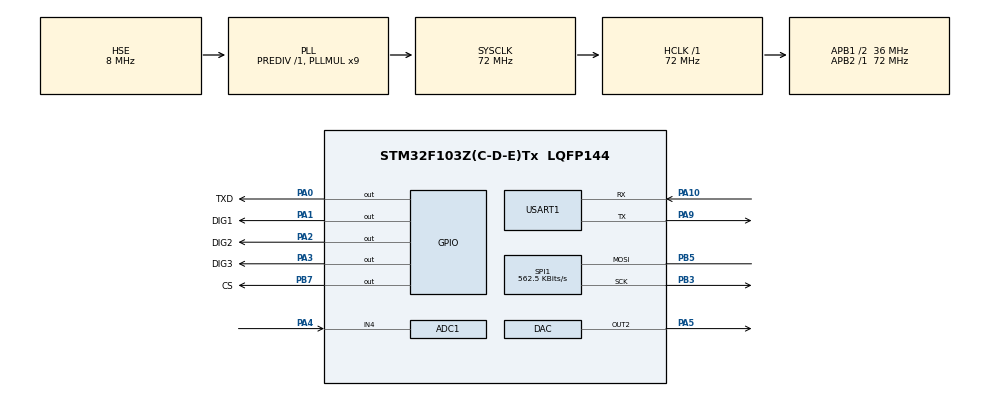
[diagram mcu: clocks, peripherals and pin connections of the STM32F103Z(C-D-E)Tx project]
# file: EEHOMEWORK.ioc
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ADC1.Channel-0\#ChannelRegularConversion=ADC_CHANNEL_4
ADC1.ContinuousConvMode=DISABLE
ADC1.NbrOfConversion=1
ADC1.NbrOfConversionFlag=1
ADC1.Rank-0\#ChannelRegularConversion=1
ADC1.SamplingTime-0\#ChannelRegularConversion=ADC_SAMPLETIME_239CYCLES_5
ADC1.master=1
Mcu.Family=STM32F1
Mcu.Name=STM32F103Z(C-D-E)Tx
Mcu.Package=LQFP144
NVIC.PriorityGroup=NVIC_PRIORITYGROUP_4
NVIC.TIM3_IRQn=true\:0\:0\:false\:false\:true\:true\:true
NVIC.USART1_IRQn=true\:0\:0\:false\:false\:true\:true\:true
OSC_IN.Mode=HSE-External-Oscillator
OSC_IN.Signal=RCC_OSC_IN
OSC_OUT.Mode=HSE-External-Oscillator
OSC_OUT.Signal=RCC_OSC_OUT
PA0-WKUP.GPIO_Label=TXD
PA0-WKUP.Signal=GPIO_Output
PA1.GPIO_Label=DIG1
PA1.PinState=GPIO_PIN_SET
PA1.Signal=GPIO_Output
PA10.Mode=Asynchronous
PA10.Signal=USART1_RX
PA13.Mode=Serial_Wire
PA13.Signal=SYS_JTMS-SWDIO
PA14.Mode=Serial_Wire
PA14.Signal=SYS_JTCK-SWCLK
PA2.GPIO_Label=DIG2
PA2.PinState=GPIO_PIN_SET
PA2.Signal=GPIO_Output
PA3.GPIO_Label=DIG3
PA3.PinState=GPIO_PIN_SET
PA3.Signal=GPIO_Output
PA4.Signal=ADCx_IN4
PA5.Signal=COMP_DAC2_group
PA9.Mode=Asynchronous
PA9.Signal=USART1_TX
PB3.Mode=Simplex_Bidirectional_Master
PB3.Signal=SPI1_SCK
PB5.Mode=Simplex_Bidirectional_Master
PB5.Signal=SPI1_MOSI
PB7.GPIO_Label=CS
PB7.PinState=GPIO_PIN_SET
PB7.Signal=GPIO_Output
ProjectManager.HeapSize=0x200
ProjectManager.StackSize=0x400
ProjectManager.TargetToolchain=SW4STM32
RCC.ADCPresc=RCC_ADCPCLK2_DIV6
RCC.AHBFreq_Value=72000000
RCC.APB1CLKDivider=RCC_HCLK_DIV2
RCC.APB1Freq_Value=36000000
RCC.APB1TimFreq_Value=72000000
RCC.APB2Freq_Value=72000000
RCC.APB2TimFreq_Value=72000000
RCC.HCLKFreq_Value=72000000
RCC.PLLMUL=RCC_PLL_MUL9
RCC.PLLSourceVirtual=RCC_PLLSOURCE_HSE
RCC.SYSCLKFreq_VALUE=72000000
RCC.SYSCLKSource=RCC_SYSCLKSOURCE_PLLCLK
RCC.USBFreq_Value=72000000
SH.ADCx_IN4.0=ADC1_IN4,IN4
SH.COMP_DAC2_group.0=DAC_OUT2,DAC_OUT2
SPI1.BaudRatePrescaler=SPI_BAUDRATEPRESCALER_128
SPI1.CalculateBaudRate=562.5 KBits/s
SPI1.Direction=SPI_DIRECTION_1LINE
SPI1.Mode=SPI_MODE_MASTER
SPI1.VirtualType=VM_MASTER
TIM3.Period=999
TIM3.Prescaler=71
USART1.VirtualMode=VM_ASYNC
VP_TIM3_VS_ClockSourceINT.Mode=Internal
board=custom

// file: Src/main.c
/* USER CODE BEGIN Header */
/**
  ******************************************************************************
  * @file           : main.c
  * @brief          : Main program body
  ******************************************************************************
  * @attention
  *
  * <h2><center>&copy; Copyright (c) 2020 STMicroelectronics.
  * All rights reserved.</center></h2>
  *
  * This software component is licensed by ST under BSD 3-Clause license,
  * the "License"; You may not use this file except in compliance with the
  * License. You may obtain a copy of the License at:
  *                        opensource.org/licenses/BSD-3-Clause
  *
  ******************************************************************************
  */
/* USER CODE END Header */

#include "main.h"
#include "adc.h"
#include "dac.h"
#include "spi.h"
#include "tim.h"
#include "usart.h"
#include "gpio.h"

/* USER CODE BEGIN Includes */
#include "smg.h"
#include "stdio.h"
#include "string.h"
#include "delay.h"
#include "infrared_emission.h"
/* USER CODE END Includes */

/* USER CODE BEGIN PV */
int adc_value;
double t;
uint8_t tx_flag=1;
uint8_t smg_data[] = {0x3f, 0x06, 0x5b, 0x4f, 0x66, 0x6d, 0x7d, 0x07, 0x7f, 0x6f, 0x77, 0x7c, 0x39, 0x5e, 0x79, 0x71};
/* USER CODE END PV */

void SystemClock_Config(void);

/* USER CODE BEGIN 0 */

#ifdef __GNUC__
/* With GCC, small printf (option LD Linker->Libraries->Small printf
   set to 'Yes') calls __io_putchar() */
#define PUTCHAR_PROTOTYPE int __io_putchar(int ch)
#else
#define PUTCHAR_PROTOTYPE int fputc(int ch, FILE *f)
#endif /* __GNUC__ */

PUTCHAR_PROTOTYPE {
    /* Place your implementation of fputc here */
    /* e.g. write a character to the USART1 and Loop until the end of transmission */
    // 注意下面第一个参数是&huart1，因为cubemx配置了串�?1自动生成
    HAL_UART_Transmit(&huart1, (uint8_t *) &ch, 1, 0xFFFF);
    return ch;
}

int _write(int file, char *ptr, int len) {
    int DataIdx;
    for (DataIdx = 0; DataIdx < len; DataIdx++) { __io_putchar(*ptr++); }
    return len;
}

/* USER CODE END 0 */

int main(void)
{

  /* MCU Configuration--------------------------------------------------------*/

  /* Reset of all peripherals, Initializes the Flash interface and the Systick. */
  HAL_Init();

  /* Configure the system clock */
  SystemClock_Config();

  /* USER CODE BEGIN SysInit */
  delay_init(72);
  /* USER CODE END SysInit */

  /* Initialize all configured peripherals */
  MX_GPIO_Init();
  MX_ADC1_Init();
  MX_DAC_Init();
  MX_SPI1_Init();
  MX_USART1_UART_Init();
  MX_TIM3_Init();
  /* USER CODE BEGIN 2 */
    HAL_DAC_SetValue(&hdac, DAC_CHANNEL_2, DAC_ALIGN_12B_R, 2060);
    HAL_DAC_Start(&hdac, DAC_CHANNEL_2);
    HAL_TIM_Base_Start(&htim3);
    HAL_TIM_Base_Start_IT(&htim3);
  /* USER CODE END 2 */

  /* Infinite loop */
  /* USER CODE BEGIN WHILE */

    while (1) {
                HAL_ADC_Start(&hadc1);
        HAL_ADC_PollForConversion(&hadc1,10);
        adc_value=HAL_ADC_GetValue(&hadc1);
        t=adc_value*3.3/4096;
        printf("%d\r\n",adc_value);
        printf("%lf\r\n",t);
        t=(double )adc_value/4096*3.3;
        t=t*100*2;
        t=(uint8_t)t;
        printf("%lf\r\n",t);
        smg_display(t);
        if (tx_flag) {
            tx_flag=0;
            txd(0x00, t);
        }
    /* USER CODE END WHILE */

    }
}

void SystemClock_Config(void)
{
  RCC_OscInitTypeDef RCC_OscInitStruct = {0};
  RCC_ClkInitTypeDef RCC_ClkInitStruct = {0};
  RCC_PeriphCLKInitTypeDef PeriphClkInit = {0};

  /** Initializes the CPU, AHB and APB busses clocks
  */
  RCC_OscInitStruct.OscillatorType = RCC_OSCILLATORTYPE_HSE;
  RCC_OscInitStruct.HSEState = RCC_HSE_ON;
  RCC_OscInitStruct.HSEPredivValue = RCC_HSE_PREDIV_DIV1;
  RCC_OscInitStruct.HSIState = RCC_HSI_ON;
  RCC_OscInitStruct.PLL.PLLState = RCC_PLL_ON;
  RCC_OscInitStruct.PLL.PLLSource = RCC_PLLSOURCE_HSE;
  RCC_OscInitStruct.PLL.PLLMUL = RCC_PLL_MUL9;
  if (HAL_RCC_OscConfig(&RCC_OscInitStruct) != HAL_OK)
  {
    Error_Handler();
  }
  /** Initializes the CPU, AHB and APB busses clocks
  */
  RCC_ClkInitStruct.ClockType = RCC_CLOCKTYPE_HCLK|RCC_CLOCKTYPE_SYSCLK
                              |RCC_CLOCKTYPE_PCLK1|RCC_CLOCKTYPE_PCLK2;
  RCC_ClkInitStruct.SYSCLKSource = RCC_SYSCLKSOURCE_PLLCLK;
  RCC_ClkInitStruct.AHBCLKDivider = RCC_SYSCLK_DIV1;
  RCC_ClkInitStruct.APB1CLKDivider = RCC_HCLK_DIV2;
  RCC_ClkInitStruct.APB2CLKDivider = RCC_HCLK_DIV1;

  if (HAL_RCC_ClockConfig(&RCC_ClkInitStruct, FLASH_LATENCY_2) != HAL_OK)
  {
    Error_Handler();
  }
  PeriphClkInit.PeriphClockSelection = RCC_PERIPHCLK_ADC;
  PeriphClkInit.AdcClockSelection = RCC_ADCPCLK2_DIV6;
  if (HAL_RCCEx_PeriphCLKConfig(&PeriphClkInit) != HAL_OK)
  {
    Error_Handler();
  }
}

void Error_Handler(void)
{
}

/************************ (C) COPYRIGHT STMicroelectronics *****END OF FILE****/
